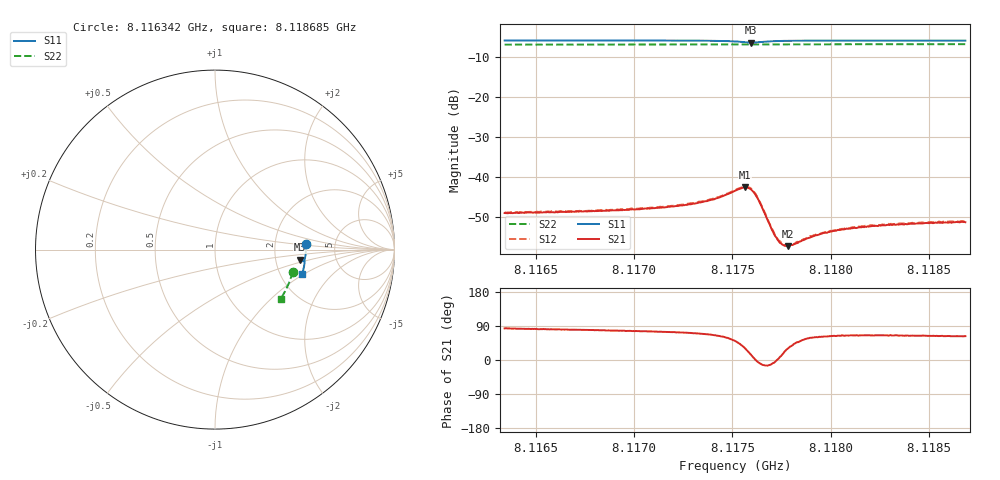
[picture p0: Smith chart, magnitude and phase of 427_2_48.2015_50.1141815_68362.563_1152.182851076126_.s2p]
#  HZ  S  RI  R  50.00
! Rohde & Schwarz Vector Network Analyzer
! Rohde-Schwarz,ZNB20-2Port,1311601062101988,3.16
! Created: UTC 3/20/2024, 11:55:10 AM
! freq[Hz]  re:S11  im:S11  re:S21  im:S21  re:S12  im:S12  re:S22  im:S22
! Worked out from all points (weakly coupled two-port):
!   401 points, 8.116342 GHz to 8.118685 GHz, reference 50 ohm
!   highest |S21| = -42.57 dB at 8.117566 GHz (marker M1); lowest = -57.2 dB at 8.117783 GHz (marker M2)
!   lowest |S11| = -6.4 dB at 8.117596 GHz (marker M3), VSWR 2.83, Z = 138 - j19.8 ohm
!   |S11| at or under -10 dB: nowhere
!   |S22| runs from -6.9 to -6.8 dB; largest |S21 - S12| = 0.00019
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8.1163425e9  0.5062 0.0329  0.000408 0.00354  0.000473 0.00356  0.4322 -0.1244
8.1167348e9  0.5067 0.00319  0.00069 0.00367  0.000738 0.00369  0.4249 -0.1507
8.1171271e9  0.505 -0.0276  0.00111 0.004  0.00114 0.00408  0.416 -0.1765
8.117256e9  0.5034 -0.0385  0.00137 0.00425  0.00145 0.00432  0.4126 -0.1852
8.1173614e9  0.5011 -0.0484  0.00183 0.00465  0.00195 0.00471  0.4096 -0.1919
8.1174375e9  0.4977 -0.0563  0.00254 0.005  0.00263 0.00507  0.4075 -0.1969
8.1175136e9  0.4894 -0.0638  0.00429 0.0052  0.00446 0.00528  0.4049 -0.2016
8.1175663e9  0.4782 -0.0626  0.00644 0.00372  0.00656 0.00374  0.4031 -0.2046
8.1175956e9  0.4748 -0.0552  0.00681 0.00163  0.00698 0.00162  0.402 -0.206
8.1176132e9  0.4763 -0.0502  0.00627 0.000333  0.00637 0.00027  0.4017 -0.2069
8.1176307e9  0.4801 -0.047  0.0053 -0.000509  0.00536 -0.000543  0.4014 -0.2078
8.1177068e9  0.4944 -0.0512  0.00206 -0.000294  0.00211 -0.000365  0.3998 -0.2128
8.1177244e9  0.4959 -0.0536  0.00176 -2.94e-05  0.00177 -6.98e-05  0.3994 -0.214
8.1177537e9  0.4975 -0.0573  0.0014 0.00036  0.00144 0.000346  0.3984 -0.2158
8.1177654e9  0.4978 -0.0588  0.00129 0.000522  0.00132 0.000494  0.3983 -0.2167
8.117783e9  0.4984 -0.0609  0.00119 0.000693  0.00123 0.000709  0.3976 -0.2178
8.117824e9  0.4989 -0.0654  0.00104 0.00107  0.00109 0.00108  0.3964 -0.2204
8.1179059e9  0.4989 -0.0736  0.00093 0.00154  0.000972 0.00156  0.394 -0.2258
8.1179586e9  0.4985 -0.0782  0.000953 0.00174  0.000963 0.00177  0.3921 -0.2291
8.1180465e9  0.4975 -0.0857  0.000962 0.00197  0.000988 0.00201  0.3891 -0.2344
8.1182983e9  0.4939 -0.1056  0.00107 0.00228  0.00112 0.00232  0.3804 -0.2499
8.1186847e9  0.4867 -0.1341  0.00124 0.00243  0.00127 0.00253  0.3657 -0.2726
